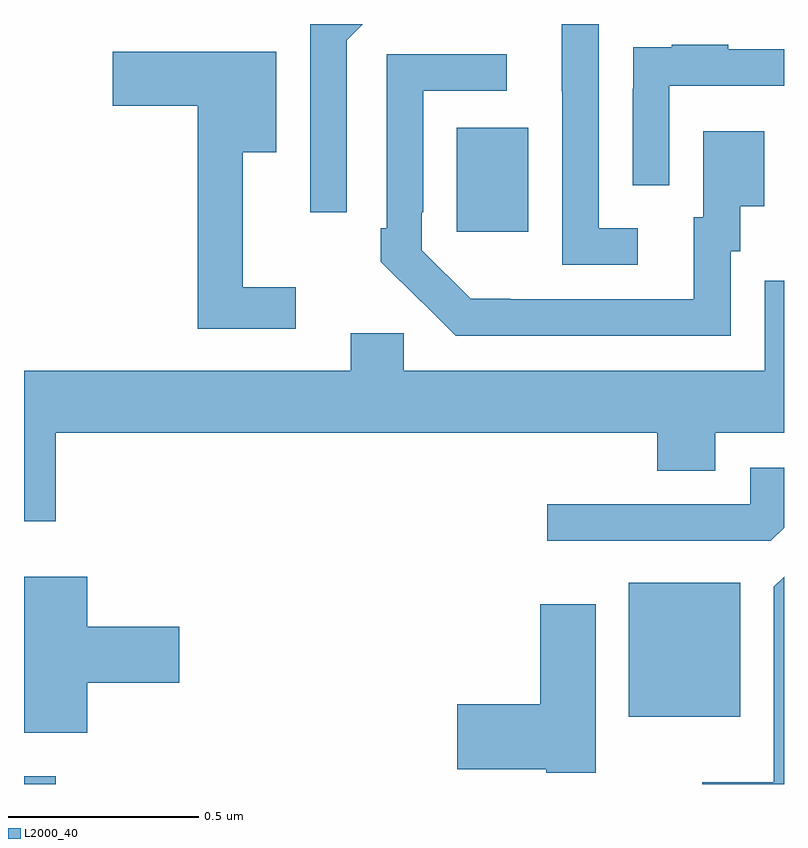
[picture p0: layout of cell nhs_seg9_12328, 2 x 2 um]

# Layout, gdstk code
import gdstk
lib = gdstk.Library(unit=1e-6, precision=1e-09)
def R(c, l, rs):  # rectangles x0, y0, x1, y1
    for r in rs: c.add(gdstk.rectangle(r[:2], r[2:], *l))
def P(c, l, *ps):  # polygons
    for p in ps: c.add(gdstk.Polygon(p, *l))
L2000_40 = (2000, 40)

nhs_seg9_12328 = lib.new_cell('nhs_seg9_12328')
R(nhs_seg9_12328, L2000_40, [(267,1191.5,267.083,1191.52), (268.592,1191.677,268.885,1192.03), (268.139,1192.953,268.327,1193.227)])
P(nhs_seg9_12328, L2000_40, [(268.615,1192.962),(268.512,1192.962),(268.512,1193.5),(268.415,1193.5),(268.415,1193.323),(268.416,1193.323),(268.416,1192.866),(268.615,1192.866)],
  [(267.849,1193.457),(267.892,1193.5),(267.754,1193.5),(267.753,1193.499),(267.753,1193.004),(267.849,1193.004)],
  [(268.698,1193.337),(269,1193.337),(269,1193.433),(268.853,1193.433),(268.853,1193.446),(268.705,1193.446),(268.705,1193.439),(268.603,1193.439),(268.603,1193.33),(268.602,1193.33),(268.602,1193.076),(268.698,1193.076)],
  [(267.715,1192.807),(267.575,1192.807),(267.575,1193.162),(267.664,1193.162),(267.664,1193.427),(267.234,1193.427),(267.234,1193.285),(267.457,1193.285),(267.457,1192.698),(267.715,1192.698)],
  [(268.86,1192.902),(268.885,1192.902),(268.885,1193.021),(268.948,1193.021),(268.948,1193.218),(268.787,1193.218),(268.787,1192.992),(268.763,1192.992),(268.763,1192.776),(268.279,1192.776),(268.279,1192.777),(268.176,1192.777),(268.047,1192.905),(268.047,1193.005),(268.05,1193.005),(268.05,1193.325),(268.27,1193.325),(268.27,1193.421),(267.954,1193.421),(267.954,1192.963),(267.939,1192.963),(267.939,1192.875),(268.044,1192.77),(268.045,1192.771),(268.136,1192.68),(268.86,1192.68)],
  [(267.083,1192.424),(268.667,1192.424),(268.667,1192.325),(268.819,1192.325),(268.819,1192.424),(269,1192.424),(269,1192.824),(268.949,1192.824),(268.949,1192.588),(267.999,1192.588),(267.999,1192.686),(267.86,1192.686),(267.86,1192.588),(267,1192.588),(267,1192.191),(267.083,1192.191)],
  [(269,1192.175),(269,1192.332),(268.911,1192.332),(268.911,1192.236),(268.377,1192.236),(268.377,1192.14),(268.965,1192.14)],
  [(269,1192.046),(268.973,1192.019),(268.973,1191.505),(268.785,1191.505),(268.785,1191.5),(269,1191.5)],
  [(267.166,1191.767),(267.409,1191.767),(267.409,1191.914),(267.166,1191.914),(267.166,1192.045),(267,1192.045),(267,1191.635),(267.166,1191.635)],
  [(268.504,1191.973),(268.358,1191.973),(268.358,1191.71),(268.14,1191.71),(268.14,1191.539),(268.374,1191.539),(268.374,1191.53),(268.504,1191.53)])

lib.write_gds('nhs_seg9_12328.gds')
